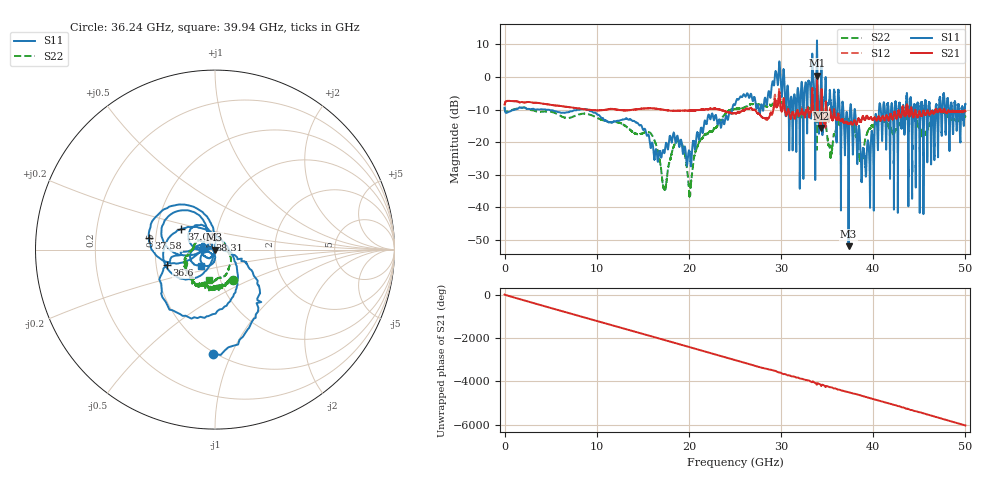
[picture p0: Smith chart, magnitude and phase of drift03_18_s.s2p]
!Created with skrf (http://scikit-rf.org).
# Hz S RI R 50.0
!freq ReS11 ImS11 ReS21 ImS21 ReS12 ImS12 ReS22 ImS22
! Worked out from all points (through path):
!   10001 points, 300 kHz to 50 GHz, reference 50 ohm
!   highest |S21| = 0.47 dB at 33.9 GHz (marker M1); lowest = -15.6 dB at 34.32 GHz (marker M2)
!   group delay of S21, straight-line fit = 335 ps
!   lowest |S11| = -52.0 dB at 37.32 GHz (marker M3), VSWR 1.01, Z = 49.8 + j0.0539 ohm
!   |S11| at or under -10 dB: 4.474 GHz to 7.942 GHz (3.467 GHz wide, 55.8 % of centre); 9.01 GHz to 24.7 GHz (15.69 GHz wide, 93.1 % of centre); 38.02 GHz to 40.63 GHz (2.611 GHz wide, 6.64 % of centre) (the widest 3 of 58)
!   |S22| runs from -36.8 to -5.9 dB; largest |S21 - S12| = 0.11
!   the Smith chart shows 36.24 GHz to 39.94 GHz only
!   S11 on the Smith chart (normalised r, x): 36.24 GHz: 0.49, -0.86; 36.6 GHz: 0.57, -0.11; 37.04 GHz: 0.67, +0.16; 37.58 GHz: 0.46, +0.07; 38.31 GHz: 0.94, +0.10; 39.94 GHz: 0.84, -0.15
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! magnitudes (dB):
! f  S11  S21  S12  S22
! 300 kHz  -9.4  -8.5  -8.5  -9.3
! 8.335 GHz  -9.9  -9.8  -9.8  -11.3
! 16.67 GHz  -25.5  -9.8  -9.8  -23.4
! 17.36 GHz  -23.2  -10.1  -10.1  -34.4
! 19.05 GHz  -20.1  -10.3  -10.4  -19.9
! 20.11 GHz  -24.1  -10.3  -10.3  -36.6
! 21.19 GHz  -17.7  -10.1  -10.1  -19.5
! 25 GHz  -8.6  -11.2  -11.1  -9.8
! 31.08 GHz  -6.1  -12.7  -12.7  -10.5
! 33.34 GHz  0.3  -7.7  -7.7  -9.5
! 33.9 GHz  11.2  0.5  0.1  -22.3
! 34.32 GHz  -2.9  -15.6  -15.0  -11.3
! 35.35 GHz  -6.7  -10.5  -10.1  -24.4
! 36.24 GHz  -4.7  -11.8  -11.7  -14.1
! 36.6 GHz  -11.1  -13.0  -13.0  -13.6
! 37.04 GHz  -13.2  -13.9  -14.0  -14.1
! 37.32 GHz  -52.0  -14.3  -14.4  -13.7
! 37.58 GHz  -8.6  -13.9  -13.8  -14.1
! 38.31 GHz  -24.4  -13.6  -13.5  -19.2
! 39.94 GHz  -18.5  -13.1  -13.1  -15.1
! 41.67 GHz  -9.7  -13.4  -13.3  -14.9
! 50 GHz  -8.2  -10.5  -10.5  -12.1
